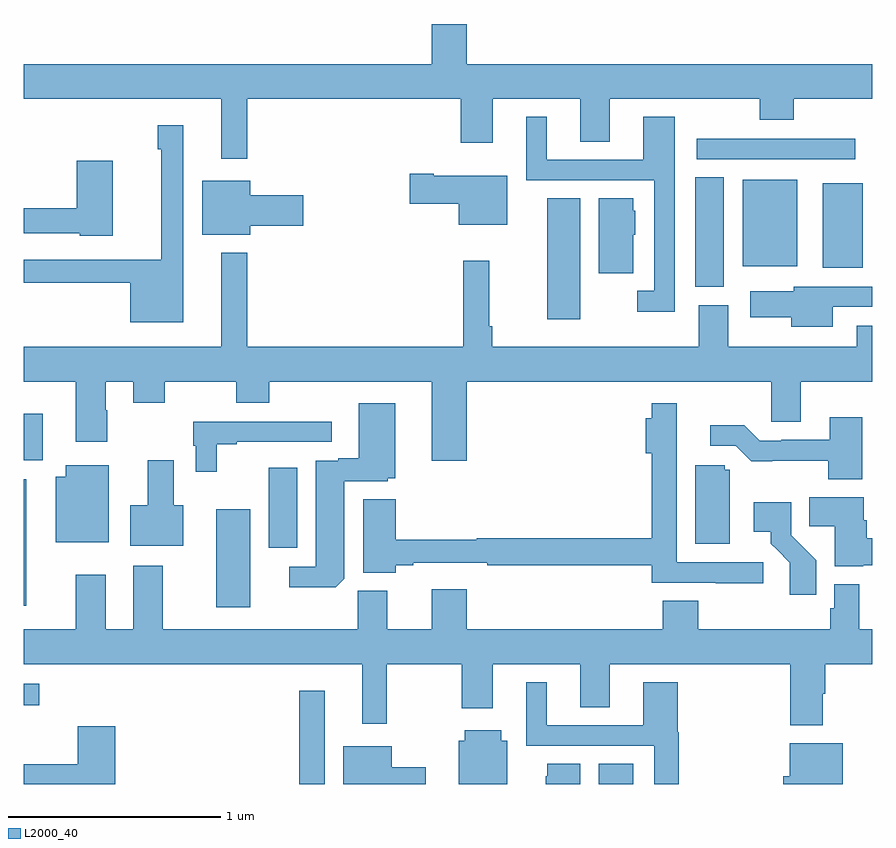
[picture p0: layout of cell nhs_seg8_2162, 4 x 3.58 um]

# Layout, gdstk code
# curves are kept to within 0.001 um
import gdstk
lib = gdstk.Library(unit=1e-6, precision=1e-09)
def R(c, l, rs):  # rectangles x0, y0, x1, y1
    for r in rs: c.add(gdstk.rectangle(r[:2], r[2:], *l))
def P(c, l, *ps):  # polygons
    for p in ps: c.add(gdstk.Polygon(p, *l))
L2000_40 = (2000, 40)

nhs_seg8_2162 = lib.new_cell('nhs_seg8_2162')
R(nhs_seg8_2162, L2000_40, [(248.298,1151.9,248.419,1152.34), (249.71,1151.9,249.874,1151.996), (247,1152.271,247.075,1152.372), (247.907,1152.732,248.068,1153.195), (247,1152.74,247.012,1153.336), (248.156,1153.014,248.29,1153.39), (247,1153.425,247.09,1153.645), (249.467,1154.091,249.622,1154.66), (250.166,1154.243,250.3,1154.759), (250.766,1154.333,250.954,1154.731), (250.388,1154.339,250.645,1154.746), (250.173,1154.844,250.918,1154.94)])
P(nhs_seg8_2162, L2000_40, [(248.053,1155.128),(249.059,1155.128),(249.059,1154.922),(249.211,1154.922),(249.211,1155.128),(249.623,1155.128),(249.623,1154.926),(249.763,1154.926),(249.763,1155.128),(250.468,1155.128),(250.468,1155.029),(250.628,1155.029),(250.628,1155.128),(251,1155.128),(251,1155.292),(249.088,1155.292),(249.088,1155.481),(248.924,1155.481),(248.924,1155.292),(247,1155.292),(247,1155.128),(247.931,1155.128),(247.931,1154.847),(248.053,1154.847)],
  [(250.068,1155.043),(249.92,1155.043),(249.92,1154.841),(249.466,1154.841),(249.466,1155.043),(249.368,1155.043),(249.368,1154.745),(249.972,1154.745),(249.972,1154.223),(249.891,1154.223),(249.891,1154.126),(250.068,1154.126)],
  [(247.753,1155.004),(247.632,1155.004),(247.632,1154.891),(247.649,1154.891),(247.649,1154.37),(247,1154.37),(247,1154.262),(247.502,1154.262),(247.502,1154.075),(247.753,1154.075)],
  [(247.42,1154.836),(247.25,1154.836),(247.25,1154.612),(247,1154.612),(247,1154.496),(247.266,1154.496),(247.266,1154.483),(247.42,1154.483)],
  [(249.28,1154.767),(248.932,1154.767),(248.932,1154.775),(248.82,1154.775),(248.82,1154.633),(249.05,1154.633),(249.05,1154.534),(249.28,1154.534)],
  [(248.068,1154.531),(248.317,1154.531),(248.317,1154.673),(248.068,1154.673),(248.068,1154.743),(247.841,1154.743),(247.841,1154.489),(248.068,1154.489)],
  [(249.874,1154.487),(249.883,1154.487),(249.883,1154.601),(249.874,1154.601),(249.874,1154.66),(249.71,1154.66),(249.71,1154.307),(249.874,1154.307)],
  [(249.088,1153.796),(250.524,1153.796),(250.524,1153.606),(250.663,1153.606),(250.663,1153.796),(251,1153.796),(251,1154.059),(250.925,1154.059),(250.925,1153.96),(250.321,1153.96),(250.321,1154.155),(250.181,1154.155),(250.181,1153.96),(249.209,1153.96),(249.209,1154.056),(249.194,1154.056),(249.194,1154.365),(249.073,1154.365),(249.073,1153.96),(248.053,1153.96),(248.053,1154.404),(247.931,1154.404),(247.931,1153.96),(247,1153.96),(247,1153.796),(247.247,1153.796),(247.247,1153.512),(247.395,1153.512),(247.395,1153.662),(247.387,1153.662),(247.387,1153.796),(247.517,1153.796),(247.517,1153.697),(247.665,1153.697),(247.665,1153.796),(248.002,1153.796),(248.002,1153.697),(248.157,1153.697),(248.157,1153.796),(248.924,1153.796),(248.924,1153.422),(249.088,1153.422)],
  [(250.813,1154.148),(251,1154.148),(251,1154.244),(250.629,1154.244),(250.629,1154.221),(250.425,1154.221),(250.425,1154.099),(250.618,1154.099),(250.618,1154.054),(250.813,1154.054)],
  [(250.486,1152.945),(250.077,1152.945),(250.077,1153.47),(250.078,1153.47),(250.078,1153.693),(249.961,1153.693),(249.961,1153.624),(249.932,1153.624),(249.932,1153.459),(249.961,1153.459),(249.961,1153.058),(249.136,1153.058),(249.136,1153.051),(248.753,1153.051),(248.753,1153.241),(248.6,1153.241),(248.6,1152.895),(248.753,1152.895),(248.753,1152.93),(248.836,1152.93),(248.836,1152.942),(249.184,1152.942),(249.184,1152.93),(249.961,1152.93),(249.961,1152.849),(250.261,1152.849),(250.261,1152.847),(250.486,1152.847)],
  [(248.512,1152.868),(248.512,1153.326),(248.715,1153.326),(248.715,1153.34),(248.752,1153.34),(248.752,1153.693),(248.579,1153.693),(248.579,1153.435),(248.483,1153.435),(248.483,1153.422),(248.378,1153.422),(248.378,1152.924),(248.253,1152.924),(248.253,1152.827),(248.471,1152.827)],
  [(250.952,1153.627),(250.799,1153.627),(250.799,1153.521),(250.57,1153.521),(250.57,1153.518),(250.47,1153.518),(250.397,1153.591),(250.236,1153.591),(250.236,1153.494),(250.356,1153.494),(250.429,1153.421),(250.792,1153.422),(250.792,1153.337),(250.952,1153.337)],
  [(247.911,1153.5),(248.005,1153.5),(248.005,1153.512),(248.452,1153.512),(248.452,1153.608),(247.8,1153.608),(247.8,1153.494),(247.812,1153.494),(247.812,1153.371),(247.911,1153.371)],
  [(247.753,1153.213),(247.708,1153.213),(247.708,1153.426),(247.586,1153.426),(247.586,1153.213),(247.502,1153.213),(247.502,1153.022),(247.753,1153.022)],
  [(247.402,1153.402),(247.199,1153.402),(247.199,1153.348),(247.151,1153.348),(247.151,1153.04),(247.402,1153.04)],
  [(250.327,1153.38),(250.305,1153.38),(250.305,1153.401),(250.166,1153.401),(250.166,1153.032),(250.327,1153.032)],
  [(250.956,1152.93),(251,1152.93),(251,1153.058),(250.973,1153.058),(250.973,1153.142),(250.96,1153.142),(250.96,1153.252),(250.702,1153.252),(250.702,1153.114),(250.823,1153.114),(250.823,1152.926),(250.956,1152.926)],
  [(250.736,1152.954),(250.617,1153.073),(250.617,1153.228),(250.44,1153.228),(250.44,1153.088),(250.52,1153.088),(250.52,1153.033),(250.548,1153.005),(250.611,1152.943),(250.611,1152.792),(250.736,1152.792)],
  [(250.765,1152.326),(250.778,1152.326),(250.778,1152.464),(251,1152.464),(251,1152.628),(250.937,1152.628),(250.937,1152.841),(250.821,1152.841),(250.821,1152.729),(250.801,1152.729),(250.801,1152.628),(250.178,1152.628),(250.178,1152.764),(250.013,1152.764),(250.013,1152.628),(249.088,1152.628),(249.088,1152.817),(248.924,1152.817),(248.924,1152.628),(248.713,1152.628),(248.713,1152.81),(248.575,1152.81),(248.575,1152.628),(247.657,1152.628),(247.657,1152.928),(247.517,1152.928),(247.517,1152.628),(247.387,1152.628),(247.387,1152.886),(247.247,1152.886),(247.247,1152.628),(247,1152.628),(247,1152.464),(248.597,1152.464),(248.597,1152.183),(248.711,1152.183),(248.711,1152.464),(249.064,1152.464),(249.064,1152.258),(249.211,1152.258),(249.211,1152.464),(249.623,1152.464),(249.623,1152.262),(249.763,1152.262),(249.763,1152.464),(250.613,1152.464),(250.613,1152.176),(250.765,1152.176)],
  [(250.088,1152.144),(250.082,1152.144),(250.082,1152.379),(249.92,1152.379),(249.92,1152.177),(249.466,1152.177),(249.466,1152.379),(249.368,1152.379),(249.368,1152.081),(249.972,1152.081),(249.972,1151.9),(250.088,1151.9)],
  [(247.433,1152.172),(247.255,1152.172),(247.255,1151.992),(247,1151.992),(247,1151.9),(247.433,1151.9)],
  [(249.28,1152.103),(249.25,1152.103),(249.25,1152.154),(249.08,1152.154),(249.08,1152.103),(249.05,1152.103),(249.05,1151.9),(249.28,1151.9)],
  [(250.861,1152.091),(250.61,1152.091),(250.61,1151.937),(250.58,1151.937),(250.58,1151.9),(250.861,1151.9)],
  [(248.896,1151.979),(248.734,1151.979),(248.734,1152.079),(248.507,1152.079),(248.507,1151.9),(248.896,1151.9)],
  [(249.622,1151.996),(249.467,1151.996),(249.467,1151.937),(249.461,1151.937),(249.461,1151.9),(249.622,1151.9)])

lib.write_gds('nhs_seg8_2162.gds')
